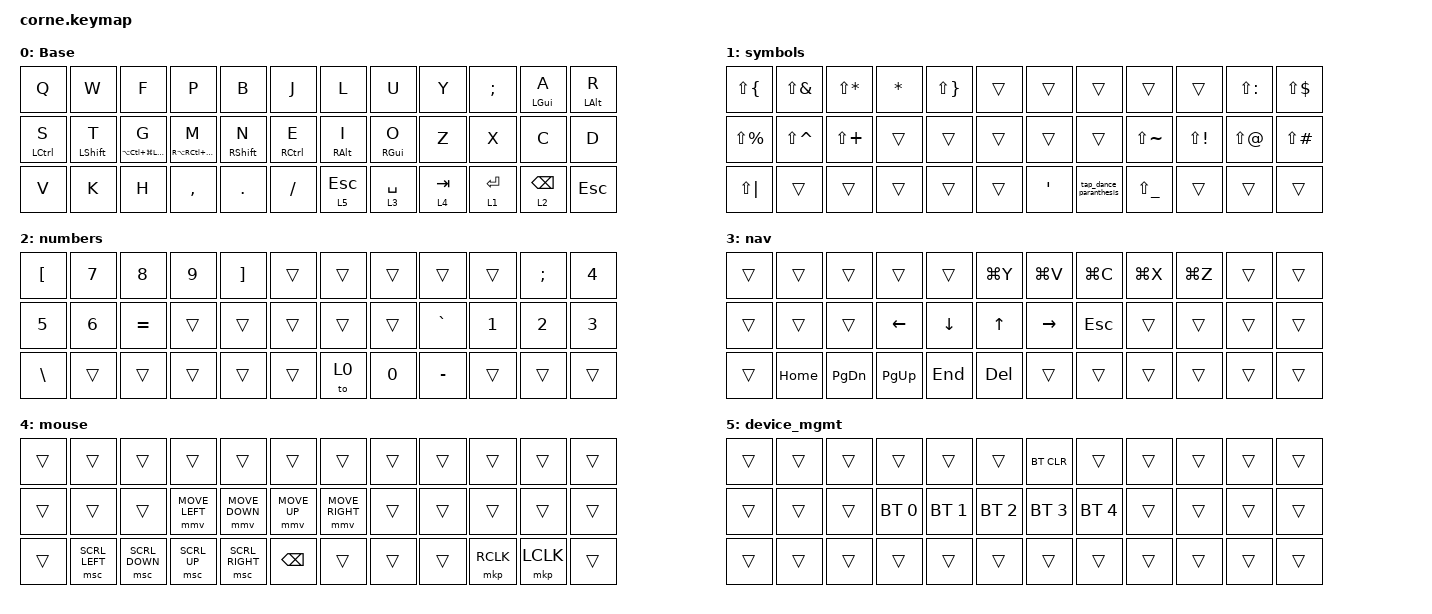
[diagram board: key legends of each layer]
/*
 * Copyright (c) 2020 The ZMK Contributors
 *
 * SPDX-License-Identifier: MIT
 */
// ZMK Studio support disabled: removed zmk,physical-layout and reserved extras
// Keymap Editor compatibility: added matrix-transform

#include <behaviors.dtsi>
#include <dt-bindings/zmk/bt.h>
#include <dt-bindings/zmk/keys.h>
#include <dt-bindings/zmk/pointing.h>

/ {
    chosen { zmk,matrix-transform = &five_column_transform; };

    behaviors {
        mtl: mtl {
            compatible = "zmk,behavior-hold-tap";
            label = "MTL";
            bindings = <&kp>, <&kp>;

            #binding-cells = <2>;
            hold-trigger-key-positions = <25 26 27 28 29 19 18 17 16 15 5 6 7 9 8>;
            tapping-term-ms = <280>;
            quick-tap-ms = <175>;
            hold-trigger-on-release;
            flavor = "balanced";
            require-prior-idle-ms = <150>;
        };

        mtr: mtr {
            compatible = "zmk,behavior-hold-tap";
            label = "MTR";
            bindings = <&kp>, <&kp>;

            #binding-cells = <2>;
            tapping-term-ms = <280>;
            hold-trigger-key-positions = <24 23 22 21 20 10 12 13 14 4 3 2 1 11 0>;
            quick-tap-ms = <175>;
            hold-trigger-on-release;
            flavor = "balanced";
        };

        tap_dance_paranthesis: tap_dance_paranthesis {
            compatible = "zmk,behavior-tap-dance";
            label = "TAP_DANCE_PARANTHESIS";
            #binding-cells = <0>;
            bindings = <&kp LEFT_PARENTHESIS>, <&kp RIGHT_PARENTHESIS>;
        };

        lt_repeat: lt_repeat {
            compatible = "zmk,behavior-hold-tap";
            label = "LT_REPEAT";
            bindings = <&tog>, <&kp>;

            #binding-cells = <2>;
            quick-tap-ms = <125>;
            tapping-term-ms = <200>;
            flavor = "tap-preferred";
        };
    };

    combos {
        compatible = "zmk,combos";

        ultimate-mod {
            bindings = <&sk LC(Q)>;
            key-positions = <30 35>;
            slow-release;
            layers = <0>;
        };
    };

    keymap {
        compatible = "zmk,keymap";

        default_layer {
            display-name = "Base";
            bindings = <
&kp Q                &kp W              &kp F                          &kp P                           &kp B               &kp J           &kp L             &kp U             &kp Y      &kp SEMICOLON  &mtl LGUI A      &mtl LEFT_ALT R
&mtl LEFT_CONTROL S  &mtl LEFT_SHIFT T  &mtl LA(LC(LG(LEFT_SHIFT))) G  &mtr RA(RC(RG(RIGHT_SHIFT))) M  &mtr RIGHT_SHIFT N  &mtr RCTRL E    &mtr RIGHT_ALT I  &mtr RIGHT_GUI O  &kp Z      &kp X          &kp C            &kp D
&kp V                &kp K              &kp H                          &kp COMMA                       &kp PERIOD          &kp SLASH       &lt 5 ESCAPE      &lt 3 SPACE       &lt 4 TAB  &lt 1 RET      &lt 2 BACKSPACE  &kp ESCAPE
            >;
        };

        symbols {
            bindings = <
&kp LS(LBRC)   &kp LS(AMPS)   &kp LS(STAR)  &kp ASTERISK  &kp LS(RBRC)  &trans    &trans            &trans                  &trans         &trans        &kp LS(COLON)  &kp LS(DLLR)
&kp LS(PRCNT)  &kp LS(CARET)  &kp LS(PLUS)  &trans        &trans        &trans    &trans            &trans                  &kp LS(TILDE)  &kp LS(EXCL)  &kp LS(AT)     &kp LS(POUND)
&kp LS(PIPE)   &trans         &trans        &trans        &trans        &trans    &kp SINGLE_QUOTE  &tap_dance_paranthesis  &kp LS(UNDER)  &trans        &trans         &trans
            >;
        };

        numbers {
            bindings = <
&kp LBKT  &kp N7  &kp N8     &kp N9  &kp RBKT  &trans    &trans  &trans  &trans     &trans  &kp SEMI  &kp N4
&kp N5    &kp N6  &kp EQUAL  &trans  &trans    &trans    &trans  &trans  &kp GRAVE  &kp N1  &kp N2    &kp N3
&kp BSLH  &trans  &trans     &trans  &trans    &trans    &to 0   &kp N0  &kp MINUS  &trans  &trans    &trans
            >;
        };

        nav {
            bindings = <
&trans  &trans    &trans     &trans     &trans    &kp LG(Y)    &kp LG(V)  &kp LG(C)  &kp LG(X)  &kp LG(Z)  &trans  &trans
&trans  &trans    &trans     &kp LEFT   &kp DOWN  &kp UP       &kp RIGHT  &kp ESC    &trans     &trans     &trans  &trans
&trans  &kp HOME  &kp PG_DN  &kp PG_UP  &kp END   &kp DEL      &trans     &trans     &trans     &trans     &trans  &trans
            >;
        };

        mouse {
            bindings = <
&trans  &trans          &trans          &trans          &trans           &trans           &trans           &trans  &trans  &trans     &trans     &trans
&trans  &trans          &trans          &mmv MOVE_LEFT  &mmv MOVE_DOWN   &mmv MOVE_UP     &mmv MOVE_RIGHT  &trans  &trans  &trans     &trans     &trans
&trans  &msc SCRL_LEFT  &msc SCRL_DOWN  &msc SCRL_UP    &msc SCRL_RIGHT  &kp BACKSPACE    &trans           &trans  &trans  &mkp RCLK  &mkp LCLK  &trans
            >;
        };

        device_mgmt {
            bindings = <
&trans  &trans  &trans  &trans        &trans        &trans          &bt BT_CLR    &trans        &trans  &trans  &trans  &trans
&trans  &trans  &trans  &bt BT_SEL 0  &bt BT_SEL 1  &bt BT_SEL 2    &bt BT_SEL 3  &bt BT_SEL 4  &trans  &trans  &trans  &trans
&trans  &trans  &trans  &trans        &trans        &trans          &trans        &trans        &trans  &trans  &trans  &trans
            >;
        };
    };
};
